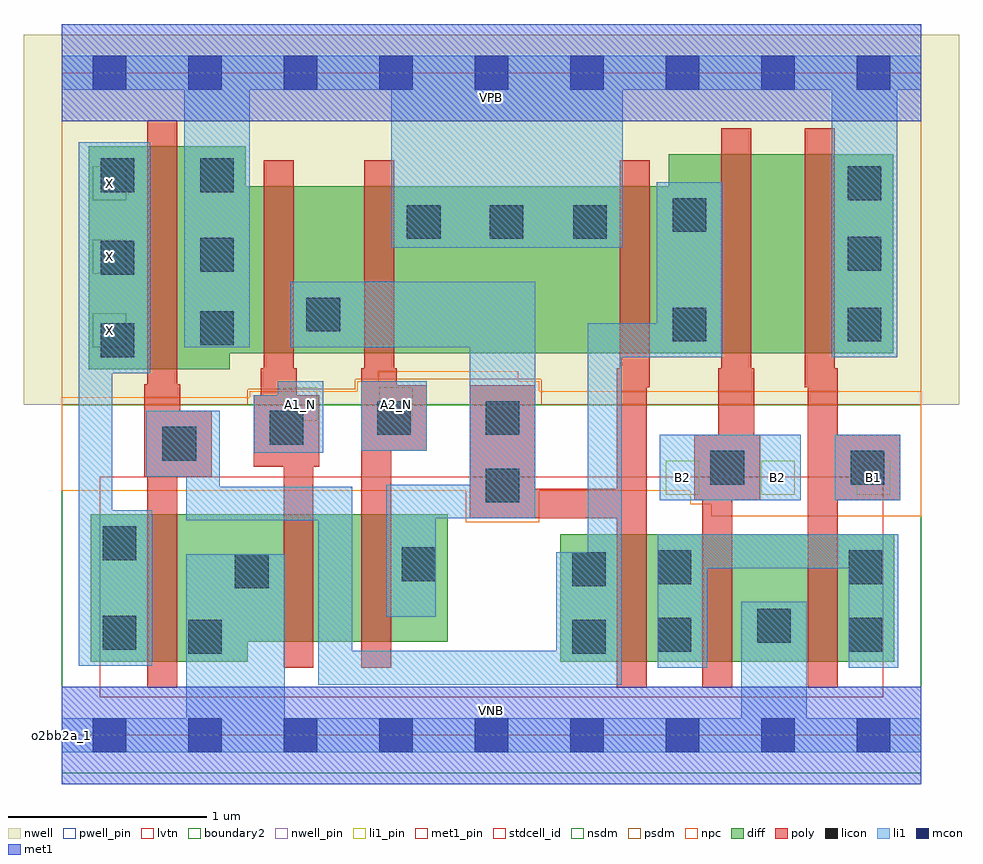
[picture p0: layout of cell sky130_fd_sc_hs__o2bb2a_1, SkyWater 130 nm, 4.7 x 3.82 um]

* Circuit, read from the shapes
.subckt sky130_fd_sc_hs__o2bb2a_1 A1_N A2_N B1 B2 VGND VNB VPB VPWR X
XM1 VGND n1 X VNB sky130_fd_pr__nfet_01v8_lvt w=0.74 l=0.15
XM2 n2 A1_N VGND VNB sky130_fd_pr__nfet_01v8_lvt w=0.64 l=0.15
XM3 n3 A2_N n2 VNB sky130_fd_pr__nfet_01v8_lvt w=0.64 l=0.15
XM4 n4 n3 n1 VNB sky130_fd_pr__nfet_01v8_lvt w=0.64 l=0.15
XM5 VGND B2 n4 VNB sky130_fd_pr__nfet_01v8_lvt w=0.64 l=0.15
XM6 n4 B1 VGND VNB sky130_fd_pr__nfet_01v8_lvt w=0.64 l=0.15
XM7 VPWR n1 X VPB sky130_fd_pr__pfet_01v8 w=1.12 l=0.15
XM8 n3 A1_N VPWR VPB sky130_fd_pr__pfet_01v8 w=0.84 l=0.15
XM9 VPWR A2_N n3 VPB sky130_fd_pr__pfet_01v8 w=0.84 l=0.15
XM10 n1 n3 VPWR VPB sky130_fd_pr__pfet_01v8 w=0.84 l=0.15
XM11 n5 B2 n1 VPB sky130_fd_pr__pfet_01v8 w=1 l=0.15
XM12 VPWR B1 n5 VPB sky130_fd_pr__pfet_01v8 w=1 l=0.15
.ends

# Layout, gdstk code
import gdstk
lib = gdstk.Library(unit=1e-6, precision=1e-09)
def R(c, l, rs):  # rectangles x0, y0, x1, y1
    for r in rs: c.add(gdstk.rectangle(r[:2], r[2:], *l))
def A(c, l, x, y, w, h, nx, ny, dx, dy):  # array of equal rectangles
    R(c, l, [(x+i*dx, y+j*dy, x+i*dx+w, y+j*dy+h) for i in range(nx) for j in range(ny)])
def P(c, l, *ps):  # polygons
    for p in ps: c.add(gdstk.Polygon(p, *l))
nwell_pin = (64, 16)
nwell = (64, 20)
diff = (65, 20)
poly = (66, 20)
licon = (66, 44)
li1_pin = (67, 16)
li1 = (67, 20)
mcon = (67, 44)
met1_pin = (68, 16)
met1 = (68, 20)
stdcell_id = (81, 4)
nsdm = (93, 44)
psdm = (94, 20)
npc = (95, 20)
pwell_pin = (122, 16)
lvtn = (125, 44)
boundary2 = (236, 0)

sky130_fd_sc_hs__o2bb2a_ = lib.new_cell('sky130_fd_sc_hs__o2bb2a_1')
R(sky130_fd_sc_hs__o2bb2a_, nwell_pin, [(0,3.085,4.32,3.33)])
R(sky130_fd_sc_hs__o2bb2a_, nwell, [(-0.19,1.66,4.51,3.52)])
R(sky130_fd_sc_hs__o2bb2a_, diff, [(2.505,0.37,4.185,1.01)])
P(sky130_fd_sc_hs__o2bb2a_, diff, [(1.94,1.11),(0.145,1.11),(0.145,0.37),(0.935,0.37),(0.935,0.47),(1.94,0.47)],
  [(4.18,2.92),(3.05,2.92),(3.05,2.76),(0.925,2.76),(0.925,2.96),(0.135,2.96),(0.135,1.84),(0.845,1.84),(0.845,1.92),(4.18,1.92)])
P(sky130_fd_sc_hs__o2bb2a_, poly, [(4.215,1.51),(3.9,1.51),(3.9,1.845),(3.885,1.845),(3.885,3.05),(3.735,3.05),(3.735,1.75),(3.75,1.75),(3.75,0.24),(3.9,0.24),(3.9,1.18),(4.215,1.18)],
  [(3.51,1.51),(3.48,1.51),(3.48,1.845),(3.465,1.845),(3.465,3.05),(3.315,3.05),(3.315,1.845),(3.3,1.845),(3.3,1.51),(3.18,1.51),(3.18,1.18),(3.22,1.18),(3.22,0.24),(3.37,0.24),(3.37,1.18),(3.51,1.18)],
  [(2.955,2.89),(2.805,2.89),(2.805,1.845),(2.79,1.845),(2.79,1.24),(2.38,1.24),(2.38,1.76),(2.05,1.76),(2.05,1.09),(2.79,1.09),(2.79,0.24),(2.94,0.24),(2.94,1.75),(2.955,1.75)],
  [(1.835,1.76),(1.685,1.76),(1.685,1.845),(1.67,1.845),(1.67,2.89),(1.52,2.89),(1.52,1.845),(1.505,1.845),(1.505,0.34),(1.655,0.34),(1.655,1.43),(1.835,1.43)],
  [(1.295,1.71),(1.18,1.71),(1.18,1.845),(1.165,1.845),(1.165,2.89),(1.015,2.89),(1.015,1.845),(1,1.845),(1,1.71),(0.965,1.71),(0.965,1.35),(1.115,1.35),(1.115,0.34),(1.265,0.34),(1.265,1.35),(1.295,1.35)],
  [(0.755,1.63),(0.595,1.63),(0.595,1.765),(0.58,1.765),(0.58,3.09),(0.43,3.09),(0.43,1.765),(0.415,1.765),(0.415,1.3),(0.43,1.3),(0.43,0.24),(0.58,0.24),(0.58,1.3),(0.755,1.3)])
A(sky130_fd_sc_hs__o2bb2a_, licon, 0.195, 1.9, 0.17, 0.17, 1, 3, 0, 0.415)
A(sky130_fd_sc_hs__o2bb2a_, licon, 3.95, 1.98, 0.17, 0.17, 1, 3, 0, 0.355)
R(sky130_fd_sc_hs__o2bb2a_, licon, [(0.635,0.41,0.805,0.58), (2.565,0.41,2.735,0.58), (2.995,0.42,3.165,0.59), (3.955,0.42,4.125,0.59), (0.205,0.43,0.375,0.6), (3.495,0.465,3.665,0.635), (0.87,0.74,1.04,0.91), (2.565,0.75,2.735,0.92), (2.995,0.76,3.165,0.93), (3.955,0.76,4.125,0.93), (1.71,0.775,1.88,0.945), (0.205,0.88,0.375,1.05), (2.13,1.17,2.3,1.34), (3.26,1.26,3.43,1.43), (3.965,1.26,4.135,1.43), (0.505,1.38,0.675,1.55), (1.045,1.46,1.215,1.63), (1.585,1.51,1.755,1.68), (2.13,1.51,2.3,1.68), (0.695,1.96,0.865,2.13), (3.07,1.98,3.24,2.15), (1.23,2.03,1.4,2.2), (0.695,2.33,0.865,2.5), (1.735,2.495,1.905,2.665), (2.15,2.495,2.32,2.665), (2.57,2.495,2.74,2.665), (3.07,2.53,3.24,2.7), (0.695,2.73,0.865,2.9)])
A(sky130_fd_sc_hs__o2bb2a_, li1_pin, 3.035, 1.21, 0.17, 0.17, 3, 1, 0.48, 0)
A(sky130_fd_sc_hs__o2bb2a_, li1_pin, 0.155, 1.95, 0.17, 0.17, 1, 3, 0, 0.37)
R(sky130_fd_sc_hs__o2bb2a_, li1_pin, [(1.115,1.58,1.285,1.75), (1.595,1.58,1.765,1.75)])
R(sky130_fd_sc_hs__o2bb2a_, li1, [(3.005,1.18,3.715,1.51), (3.885,1.18,4.215,1.51), (1.505,1.43,1.835,1.78)])
P(sky130_fd_sc_hs__o2bb2a_, li1, [(1.655,2.45),(1.655,3.245),(0.945,3.245),(0.945,1.95),(0.615,1.95),(0.615,3.245),(0,3.245),(0,3.415),(4.32,3.415),(4.32,3.245),(4.2,3.245),(4.2,1.9),(3.87,1.9),(3.87,3.245),(2.82,3.245),(2.82,2.45)],
  [(3.415,0.085),(3.415,0.67),(3.745,0.67),(3.745,0.085),(4.32,0.085),(4.32,-0.085),(0,-0.085),(0,0.085),(0.625,0.085),(0.625,0.91),(1.12,0.91),(1.12,0.085)],
  [(0.625,1.08),(0.625,1.3),(0.425,1.3),(0.425,1.63),(0.795,1.63),(0.795,1.25),(1.46,1.25),(1.46,0.425),(2.485,0.425),(2.485,0.92),(2.645,0.92),(2.645,2.07),(2.99,2.07),(2.99,2.78),(3.32,2.78),(3.32,1.9),(2.815,1.9),(2.815,0.255),(1.29,0.255),(1.29,1.08)],
  [(0.085,2.98),(0.445,2.98),(0.445,1.82),(0.255,1.82),(0.255,1.13),(0.455,1.13),(0.455,0.35),(0.085,0.35)],
  [(3.955,0.34),(3.955,0.84),(3.245,0.84),(3.245,0.34),(2.995,0.34),(2.995,1.01),(4.205,1.01),(4.205,0.34)],
  [(2.05,1.26),(2.05,1.95),(1.15,1.95),(1.15,2.28),(2.38,2.28),(2.38,1.09),(1.88,1.09),(1.88,0.595),(1.63,0.595),(1.63,1.26)],
  [(1.085,1.71),(1.085,1.78),(1.315,1.78),(1.315,1.42),(0.965,1.42),(0.965,1.71)])
A(sky130_fd_sc_hs__o2bb2a_, mcon, 0.155, -0.085, 0.17, 0.17, 9, 2, 0.48, 3.33)
R(sky130_fd_sc_hs__o2bb2a_, met1_pin, [(0,0,4.32,0.245), (0,3.085,4.32,3.33)])
R(sky130_fd_sc_hs__o2bb2a_, met1, [(0,-0.245,4.32,0.245), (0,3.085,4.32,3.575)])
R(sky130_fd_sc_hs__o2bb2a_, stdcell_id, [(0,0,4.32,3.33)])
R(sky130_fd_sc_hs__o2bb2a_, nsdm, [(0,-0.19,4.32,1.66)])
P(sky130_fd_sc_hs__o2bb2a_, psdm, [(4.32,3.52),(0,3.52),(0,1.66),(0.935,1.66),(0.935,1.74),(1.475,1.74),(1.475,1.79),(2.41,1.79),(2.41,1.66),(4.32,1.66)])
P(sky130_fd_sc_hs__o2bb2a_, npc, [(4.32,1.73),(2.4,1.73),(2.4,1.78),(2.295,1.78),(2.295,1.83),(1.59,1.83),(1.59,1.78),(1.485,1.78),(1.485,1.73),(0.945,1.73),(0.945,1.7),(0,1.7),(0,1.23),(2.03,1.23),(2.03,1.07),(2.4,1.07),(2.4,1.23),(3.16,1.23),(3.16,1.16),(3.265,1.16),(3.265,1.1),(4.32,1.1)])
R(sky130_fd_sc_hs__o2bb2a_, pwell_pin, [(0,0,4.32,0.245)])
R(sky130_fd_sc_hs__o2bb2a_, lvtn, [(0.19,0.19,4.13,1.3)])
R(sky130_fd_sc_hs__o2bb2a_, boundary2, [(0,0,4.32,3.33)])
sky130_fd_sc_hs__o2bb2a_.add(gdstk.Label('o2bb2a_1', (0,0), layer=83, texttype=44))
sky130_fd_sc_hs__o2bb2a_.add(gdstk.Label('VNB', (2.16,0.123), layer=64, texttype=59))
sky130_fd_sc_hs__o2bb2a_.add(gdstk.Label('VPB', (2.16,3.208), layer=64, texttype=5))
sky130_fd_sc_hs__o2bb2a_.add(gdstk.Label('VPWR', (2.16,3.208), layer=68, texttype=5))
sky130_fd_sc_hs__o2bb2a_.add(gdstk.Label('VGND', (2.16,0.123), layer=68, texttype=5))
sky130_fd_sc_hs__o2bb2a_.add(gdstk.Label('B2', (3.12,1.295), layer=67, texttype=5))
sky130_fd_sc_hs__o2bb2a_.add(gdstk.Label('B2', (3.6,1.295), layer=67, texttype=5))
sky130_fd_sc_hs__o2bb2a_.add(gdstk.Label('A2_N', (1.68,1.665), layer=67, texttype=5))
sky130_fd_sc_hs__o2bb2a_.add(gdstk.Label('X', (0.24,2.035), layer=67, texttype=5))
sky130_fd_sc_hs__o2bb2a_.add(gdstk.Label('X', (0.24,2.405), layer=67, texttype=5))
sky130_fd_sc_hs__o2bb2a_.add(gdstk.Label('X', (0.24,2.775), layer=67, texttype=5))
sky130_fd_sc_hs__o2bb2a_.add(gdstk.Label('B1', (4.08,1.295), layer=67, texttype=5))
sky130_fd_sc_hs__o2bb2a_.add(gdstk.Label('A1_N', (1.2,1.665), layer=67, texttype=5))

lib.write_gds('sky130_fd_sc_hs__o2bb2a_1.gds')
